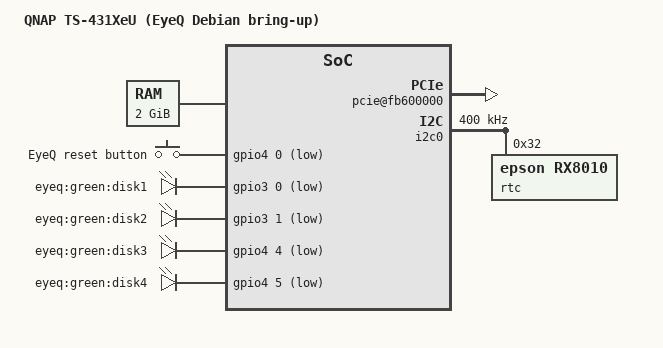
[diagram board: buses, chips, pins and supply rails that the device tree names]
// SPDX-License-Identifier: GPL-2.0-only
/* AL314/QZ11 RAM-first bring-up. Addresses checked against this unit's QTS DTB.
 * Flash excluded; only documented disk LED outputs. MCU policy is in userspace.
 */
/dts-v1/;
#include "alpine.dtsi"
#include <dt-bindings/gpio/gpio.h>
#include <dt-bindings/input/input.h>
/ {
 model = "QNAP TS-431XeU (EyeQ Debian bring-up)";
 compatible = "qnap,ts-431xeu", "al,alpine";
 aliases { serial0 = &uart0; serial1 = &uart1; };
 chosen { stdout-path = "serial0:115200n8";
  bootargs = "console=ttyS0,115200 earlycon=uart8250,mmio32,0xfd883000 rdinit=/init panic=0";
 };
 memory { reg = <0 0 0 0x80000000>; };
 /* Board model GPIO:I20:P: hexadecimal gpiolib line0x20, inverted, bank4 pin0.
  * Candidate input is observed before assigning reboot policy; KEY_PROG1 keeps
  * logind from acting on this diagnostic event during the bench acceptance.
  */
 eyeq-buttons {
  compatible = "gpio-keys";
  reset {
   label = "EyeQ reset button";
   gpios = <&gpio4 0 GPIO_ACTIVE_LOW>;
   linux,code = <KEY_PROG1>;
   debounce-interval = <50>;
  };
 };
 /* Exact stock AHCI code consumes sata_sw_leds dev9 GPIO entries directly,
  * without a standalone DT driver binding. It drives raw output values.
  * MCU @O61 is also required; initial GPIO-only tests omitted that prerequisite.
  * Occupied bays1/2 physically proved. Their physical LEDs are active-low;
  * class semantics must invert the raw GPIO, unlike the vendor raw callback.
  */
 leds {
  compatible = "gpio-leds";
  disk1 { label = "eyeq:green:disk1"; gpios = <&gpio3 0 GPIO_ACTIVE_LOW>; default-state = "off"; };
  disk2 { label = "eyeq:green:disk2"; gpios = <&gpio3 1 GPIO_ACTIVE_LOW>; default-state = "off"; };
  disk3 { label = "eyeq:green:disk3"; gpios = <&gpio4 4 GPIO_ACTIVE_LOW>; default-state = "off"; };
  disk4 { label = "eyeq:green:disk4"; gpios = <&gpio4 5 GPIO_ACTIVE_LOW>; default-state = "off"; };
 };
 soc {
  /* Firmware already trains PCIe0. AL314 uses the legacy +0x2000 DBI layout.
   * Register locations/IRQ/ranges are from this board's stock DT; known PCIe
   * control reads verified root-port ID/class and 5 GT/s x1 link before enabling.
   */
  pcie@fb600000 {
   compatible = "qnap,ts431xeu-pcie";
   reg = <0 0xfb600000 0 0x200000>,
         <0 0xfd800000 0 0x2000>,
         <0 0xfd802000 0 0x1000>;
   reg-names = "config", "controller", "dbi";
   device_type = "pci";
   #address-cells = <3>; #size-cells = <2>; #interrupt-cells = <1>;
   bus-range = <0 1>;
   linux,pci-domain = <1>;
   interrupt-map-mask = <0 0 0 7>;
   interrupt-map = <0 0 0 1 &gic GIC_SPI 45 IRQ_TYPE_LEVEL_HIGH>;
   msi-parent = <&msix>;
   ranges = <0x02000000 0 0xe0010000 0 0xe0010000 0 0x07ff0000>;
   dma-coherent;
  };
  serdes@fd8c0000 { compatible = "annapurna-labs,al-serdes"; reg = <0 0xfd8c0000 0 0x1000>; };
  pbs@fd8a8000 { compatible = "al,alpine-pbs", "annapurna-labs,al-pbs"; reg = <0 0xfd8a8000 0 0x1000>; };
  sbclk: sbclk { compatible = "fixed-clock"; #clock-cells = <0>; clock-frequency = <375000000>; };
  i2c0: i2c@fd880000 {
   compatible = "snps,designware-i2c"; reg = <0 0xfd880000 0 0x1000>;
   #address-cells = <1>; #size-cells = <0>;
   interrupts = <GIC_SPI 21 IRQ_TYPE_LEVEL_HIGH>; clocks = <&sbclk>;
   clock-frequency = <400000>;
   rtc@32 { compatible = "epson,rx8010"; reg = <0x32>; };
  };
  watchdog@fd88c000 {
   compatible = "arm,sp805", "arm,primecell"; reg = <0 0xfd88c000 0 0x1000>;
   interrupts = <GIC_SPI 13 IRQ_TYPE_LEVEL_HIGH>; clocks = <&sbclk>;
   clock-names = "apb_pclk"; timeout-sec = <10>;
  };
  gpio0: gpio@fd887000 {
   compatible = "arm,pl061", "arm,primecell"; reg = <0 0xfd887000 0 0x1000>;
   interrupts = <GIC_SPI 2 IRQ_TYPE_LEVEL_HIGH>; clocks = <&sbclk>;
   clock-names = "apb_pclk"; gpio-controller; #gpio-cells = <2>;
  };
  gpio1: gpio@fd888000 {
   compatible = "arm,pl061", "arm,primecell"; reg = <0 0xfd888000 0 0x1000>;
   interrupts = <GIC_SPI 3 IRQ_TYPE_LEVEL_HIGH>; clocks = <&sbclk>;
   clock-names = "apb_pclk"; gpio-controller; #gpio-cells = <2>;
  };
  gpio2: gpio@fd889000 {
   compatible = "arm,pl061", "arm,primecell"; reg = <0 0xfd889000 0 0x1000>;
   interrupts = <GIC_SPI 4 IRQ_TYPE_LEVEL_HIGH>; clocks = <&sbclk>;
   clock-names = "apb_pclk"; gpio-controller; #gpio-cells = <2>;
  };
  gpio3: gpio@fd88a000 {
   compatible = "arm,pl061", "arm,primecell"; reg = <0 0xfd88a000 0 0x1000>;
   interrupts = <GIC_SPI 5 IRQ_TYPE_LEVEL_HIGH>; clocks = <&sbclk>;
   clock-names = "apb_pclk"; gpio-controller; #gpio-cells = <2>;
  };
  gpio4: gpio@fd88b000 {
   compatible = "arm,pl061", "arm,primecell"; reg = <0 0xfd88b000 0 0x1000>;
   interrupts = <GIC_SPI 6 IRQ_TYPE_LEVEL_HIGH>; clocks = <&sbclk>;
   clock-names = "apb_pclk"; gpio-controller; #gpio-cells = <2>;
  };
  gpio5: gpio@fd897000 {
   compatible = "arm,pl061", "arm,primecell"; reg = <0 0xfd897000 0 0x1000>;
   interrupts = <GIC_SPI 7 IRQ_TYPE_LEVEL_HIGH>; clocks = <&sbclk>;
   clock-names = "apb_pclk"; gpio-controller; #gpio-cells = <2>;
  };
  thermal: thermal@fd860a00 {
   compatible = "al,alpine-thermal"; reg = <0 0xfd860a00 0 0x100>; #thermal-sensor-cells = <0>;
  };
 };
 thermal-zones {
  cpu-thermal {
   polling-delay-passive = <250>; polling-delay = <1000>; thermal-sensors = <&thermal>;
   trips {
    /* Conservative bench cutoff, not a claimed silicon temperature rating. */
    bench-critical { temperature = <80000>; hysteresis = <2000>; type = "critical"; };
   };
  };
 };
};
/* Required for Alpine's MSI cascade discovery on the 6.12 baseline. */
&msix { interrupt-controller; #interrupt-cells = <1>; #address-cells = <0>; };
